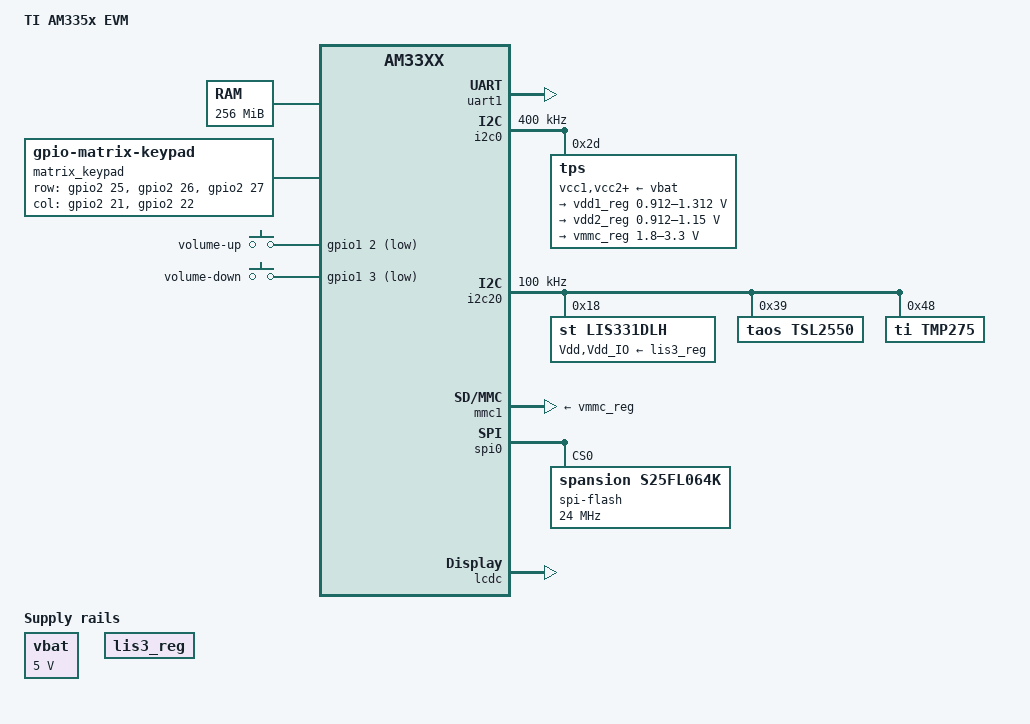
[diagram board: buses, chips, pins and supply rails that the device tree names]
/*
 * Copyright (C) 2012 Texas Instruments Incorporated - http://www.ti.com/
 *
 * This program is free software; you can redistribute it and/or modify
 * it under the terms of the GNU General Public License version 2 as
 * published by the Free Software Foundation.
 */
/dts-v1/;

/include/ "am33xx.dtsi"

/ {
	model = "TI AM335x EVM";
	compatible = "ti,am335x-evm", "ti,am33xx";

	cpus {
		cpu@0 {
			cpu0-supply = <&vdd1_reg>;
		};
	};

	memory {
		device_type = "memory";
		reg = <0x80000000 0x10000000>; /* 256 MB */
	};

	am33xx_pinmux: pinmux@44e10800 {
		pinctrl-names = "default";
		pinctrl-0 = <&matrix_keypad_s0 &volume_keys_s0 &lcd_pins_s0>;

		matrix_keypad_s0: matrix_keypad_s0 {
			pinctrl-single,pins = <
				0x54 0x7	/* gpmc_a5.gpio1_21, OUTPUT | MODE7 */
				0x58 0x7	/* gpmc_a6.gpio1_22, OUTPUT | MODE7 */
				0x64 0x27	/* gpmc_a9.gpio1_25, INPUT | MODE7 */
				0x68 0x27	/* gpmc_a10.gpio1_26, INPUT | MODE7 */
				0x6c 0x27	/* gpmc_a11.gpio1_27, INPUT | MODE7 */
			>;
		};

		volume_keys_s0: volume_keys_s0 {
			pinctrl-single,pins = <
				0x150 0x27	/* spi0_sclk.gpio0_2, INPUT | MODE7 */
				0x154 0x27	/* spi0_d0.gpio0_3, INPUT | MODE7 */
			>;
		};

		spi0_pins_s0: spi0_pins_s0 {
			pinctrl-single,pins = <
				0x150 0x30	/* spi0_sclk.spi0_sclk, INPUT_PULLUP | MODE0 */
				0x154 0x30	/* spi0_d0.spi0_d0, INPUT_PULLUP | MODE0 */
				0x158 0x10	/* spi0_d1.spi0_d1, OUTPUT_PULLUP | MODE0 */
				0x15c 0x10	/* spi0_cs0.spi0_cs0, OUTPUT_PULLUP | MODE0 */
			>;
		};

		lcd_pins_s0: lcd_pins_s0 {
			pinctrl-single,pins = <
				0x20 0x01	/* gpmc_ad8.lcd_data16, OUTPUT | MODE1 */
				0x24 0x01	/* gpmc_ad9.lcd_data17, OUTPUT | MODE1 */
				0x28 0x01	/* gpmc_ad10.lcd_data18, OUTPUT | MODE1 */
				0x2c 0x01	/* gpmc_ad11.lcd_data19, OUTPUT | MODE1 */
				0x30 0x01	/* gpmc_ad12.lcd_data20, OUTPUT | MODE1 */
				0x34 0x01	/* gpmc_ad13.lcd_data21, OUTPUT | MODE1 */
				0x38 0x01	/* gpmc_ad14.lcd_data22, OUTPUT | MODE1 */
				0x3c 0x01	/* gpmc_ad15.lcd_data23, OUTPUT | MODE1 */
				0xa0 0x00	/* lcd_data0.lcd_data0, OUTPUT | MODE0 */
				0xa4 0x00	/* lcd_data1.lcd_data1, OUTPUT | MODE0 */
				0xa8 0x00	/* lcd_data2.lcd_data2, OUTPUT | MODE0 */
				0xac 0x00	/* lcd_data3.lcd_data3, OUTPUT | MODE0 */
				0xb0 0x00	/* lcd_data4.lcd_data4, OUTPUT | MODE0 */
				0xb4 0x00	/* lcd_data5.lcd_data5, OUTPUT | MODE0 */
				0xb8 0x00	/* lcd_data6.lcd_data6, OUTPUT | MODE0 */
				0xbc 0x00	/* lcd_data7.lcd_data7, OUTPUT | MODE0 */
				0xc0 0x00	/* lcd_data8.lcd_data8, OUTPUT | MODE0 */
				0xc4 0x00	/* lcd_data9.lcd_data9, OUTPUT | MODE0 */
				0xc8 0x00	/* lcd_data10.lcd_data10, OUTPUT | MODE0 */
				0xcc 0x00	/* lcd_data11.lcd_data11, OUTPUT | MODE0 */
				0xd0 0x00	/* lcd_data12.lcd_data12, OUTPUT | MODE0 */
				0xd4 0x00	/* lcd_data13.lcd_data13, OUTPUT | MODE0 */
				0xd8 0x00	/* lcd_data14.lcd_data14, OUTPUT | MODE0 */
				0xdc 0x00	/* lcd_data15.lcd_data15, OUTPUT | MODE0 */
				0xe0 0x00	/* lcd_vsync.lcd_vsync, OUTPUT | MODE0 */
				0xe4 0x00	/* lcd_hsync.lcd_hsync, OUTPUT | MODE0 */
				0xe8 0x00	/* lcd_pclk.lcd_pclk, OUTPUT | MODE0 */
				0xec 0x00	/* lcd_ac_bias_en.lcd_ac_bias_en, OUTPUT | MODE0 */
			>;
		};
	};

	ocp {
		uart1: serial@44e09000 {
			status = "okay";
		};

		i2c0: i2c@44e0b000 {
			status = "okay";
			clock-frequency = <400000>;

			tps: tps@2d {
				reg = <0x2d>;
			};
		};

		i2c20: i2c@4802a000 {
			status = "okay";
			clock-frequency = <100000>;

			lis331dlh: lis331dlh@18 {
				compatible = "st,lis331dlh", "st,lis3lv02d";
				reg = <0x18>;
				Vdd-supply = <&lis3_reg>;
				Vdd_IO-supply = <&lis3_reg>;

				st,click-single-x;
				st,click-single-y;
				st,click-single-z;
				st,click-thresh-x = <10>;
				st,click-thresh-y = <10>;
				st,click-thresh-z = <10>;
				st,irq1-click;
				st,irq2-click;
				st,wakeup-x-lo;
				st,wakeup-x-hi;
				st,wakeup-y-lo;
				st,wakeup-y-hi;
				st,wakeup-z-lo;
				st,wakeup-z-hi;
				st,min-limit-x = <120>;
				st,min-limit-y = <120>;
				st,min-limit-z = <140>;
				st,max-limit-x = <550>;
				st,max-limit-y = <550>;
				st,max-limit-z = <750>;
			};

			tsl2550: tsl2550@39 {
				compatible = "taos,tsl2550";
				reg = <0x39>;
			};

			tmp275: tmp275@48 {
				compatible = "ti,tmp275";
				reg = <0x48>;
			};
		};
	};

	vbat: fixedregulator@0 {
		compatible = "regulator-fixed";
		regulator-name = "vbat";
		regulator-min-microvolt = <5000000>;
		regulator-max-microvolt = <5000000>;
		regulator-boot-on;
	};

	lis3_reg: fixedregulator@1 {
		compatible = "regulator-fixed";
		regulator-name = "lis3_reg";
		regulator-boot-on;
	};

	matrix_keypad: matrix_keypad@0 {
		compatible = "gpio-matrix-keypad";
		debounce-delay-ms = <5>;
		col-scan-delay-us = <2>;

		row-gpios = <&gpio2 25 0	/* Bank1, pin25 */
			     &gpio2 26 0	/* Bank1, pin26 */
			     &gpio2 27 0>;	/* Bank1, pin27 */

		col-gpios = <&gpio2 21 0	/* Bank1, pin21 */
			     &gpio2 22 0>;	/* Bank1, pin22 */

		linux,keymap = <0x0000008b	/* MENU */
				0x0100009e	/* BACK */
				0x02000069	/* LEFT */
				0x0001006a	/* RIGHT */
				0x0101001c	/* ENTER */
				0x0201006c>;	/* DOWN */
	};

	gpio_keys: volume_keys@0 {
		compatible = "gpio-keys";
		#address-cells = <1>;
		#size-cells = <0>;
		autorepeat;

		switch@9 {
			label = "volume-up";
			linux,code = <115>;
			gpios = <&gpio1 2 1>;
			gpio-key,wakeup;
		};

		switch@10 {
			label = "volume-down";
			linux,code = <114>;
			gpios = <&gpio1 3 1>;
			gpio-key,wakeup;
		};
	};
};

/include/ "tps65910.dtsi"

&tps {
	vcc1-supply = <&vbat>;
	vcc2-supply = <&vbat>;
	vcc3-supply = <&vbat>;
	vcc4-supply = <&vbat>;
	vcc5-supply = <&vbat>;
	vcc6-supply = <&vbat>;
	vcc7-supply = <&vbat>;
	vccio-supply = <&vbat>;

	regulators {
		vrtc_reg: regulator@0 {
			regulator-always-on;
		};

		vio_reg: regulator@1 {
			regulator-always-on;
		};

		vdd1_reg: regulator@2 {
			/* VDD_MPU voltage limits 0.95V - 1.26V with +/-4% tolerance */
			regulator-name = "vdd_mpu";
			regulator-min-microvolt = <912500>;
			regulator-max-microvolt = <1312500>;
			regulator-boot-on;
			regulator-always-on;
		};

		vdd2_reg: regulator@3 {
			/* VDD_CORE voltage limits 0.95V - 1.1V with +/-4% tolerance */
			regulator-name = "vdd_core";
			regulator-min-microvolt = <912500>;
			regulator-max-microvolt = <1150000>;
			regulator-boot-on;
			regulator-always-on;
		};

		vdd3_reg: regulator@4 {
			regulator-always-on;
		};

		vdig1_reg: regulator@5 {
			regulator-always-on;
		};

		vdig2_reg: regulator@6 {
			regulator-always-on;
		};

		vpll_reg: regulator@7 {
			regulator-always-on;
		};

		vdac_reg: regulator@8 {
			regulator-always-on;
		};

		vaux1_reg: regulator@9 {
			regulator-always-on;
		};

		vaux2_reg: regulator@10 {
			regulator-always-on;
		};

		vaux33_reg: regulator@11 {
			regulator-always-on;
		};

		vmmc_reg: regulator@12 {
			regulator-min-microvolt = <1800000>;
			regulator-max-microvolt = <3300000>;
			regulator-always-on;
		};
	};
};

&cpsw_emac0 {
	phy_id = <&davinci_mdio>, <0>;
};

&cpsw_emac1 {
	phy_id = <&davinci_mdio>, <1>;
};

&mmc1 {
	status = "okay";
	vmmc-supply = <&vmmc_reg>;
};

&spi0 {
	status = "okay";
	spi-flash@0 {
		compatible = "spansion,s25fl064k", "m25p80";
		spi-max-frequency = <24000000>;
		reg = <0>;
	};
};

&tscadc {
	tsc {
		ti,wires = <4>;
		ti,x-plate-resistance = <200>;
		ti,steps-to-configure = <5>;
		ti,wire-config = <0x00 0x11 0x22 0x33>;
	};

	adc {
		ti,adc-channels = <4 5 6 7>;
	};
};

&lcdc {
	status = "okay";

	display-timings {
		800x480p62 {
			clock-frequency = <30000000>;
			hactive = <800>;
			vactive = <480>;
			hfront-porch = <39>;
			hback-porch = <39>;
			hsync-len = <47>;
			vback-porch = <29>;
			vfront-porch = <13>;
			vsync-len = <2>;
			hsync-active = <1>;
			vsync-active = <1>;
		};
	};
};
